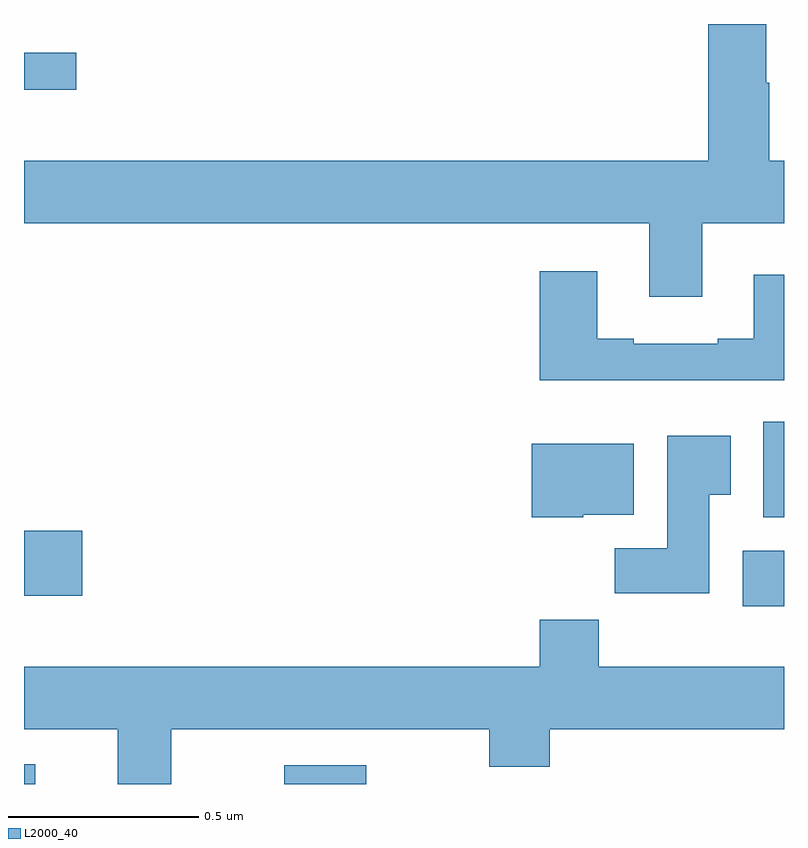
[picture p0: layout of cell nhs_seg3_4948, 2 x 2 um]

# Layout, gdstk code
import gdstk
lib = gdstk.Library(unit=1e-6, precision=1e-09)
def R(c, l, rs):  # rectangles x0, y0, x1, y1
    for r in rs: c.add(gdstk.rectangle(r[:2], r[2:], *l))
def P(c, l, *ps):  # polygons
    for p in ps: c.add(gdstk.Polygon(p, *l))
L2000_40 = (2000, 40)

nhs_seg3_4948 = lib.new_cell('nhs_seg3_4948')
R(nhs_seg3_4948, L2000_40, [(172,739.4,172.03,739.452), (172.685,739.4,172.9,739.449), (173.891,739.868,174,740.014), (172,739.895,172.153,740.066), (173.945,740.102,174,740.353), (172,741.227,172.138,741.324)])
P(nhs_seg3_4948, L2000_40, [(173.785,740.876),(174,740.876),(174,741.04),(173.961,741.04),(173.961,741.245),(173.953,741.245),(173.953,741.4),(173.801,741.4),(173.801,741.04),(172,741.04),(172,740.876),(173.645,740.876),(173.645,740.682),(173.785,740.682)],
  [(174,740.74),(173.921,740.74),(173.921,740.572),(173.825,740.572),(173.825,740.559),(173.605,740.559),(173.605,740.572),(173.509,740.572),(173.509,740.749),(173.357,740.749),(173.357,740.462),(174,740.462)],
  [(173.803,740.161),(173.86,740.161),(173.86,740.317),(173.693,740.317),(173.693,740.02),(173.554,740.02),(173.554,739.902),(173.803,739.902)],
  [(173.472,740.108),(173.605,740.108),(173.605,740.296),(173.336,740.296),(173.336,740.102),(173.472,740.102)],
  [(172.387,739.544),(173.224,739.544),(173.224,739.445),(173.384,739.445),(173.384,739.544),(174,739.544),(174,739.708),(173.513,739.708),(173.513,739.832),(173.357,739.832),(173.357,739.708),(172,739.708),(172,739.544),(172.247,739.544),(172.247,739.4),(172.387,739.4)])

lib.write_gds('nhs_seg3_4948.gds')
